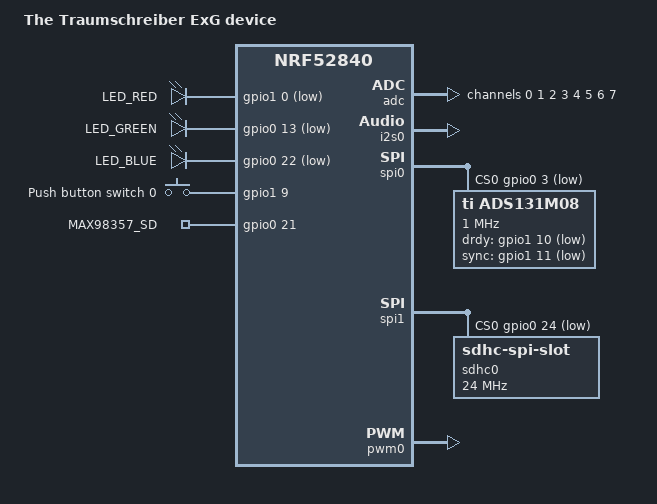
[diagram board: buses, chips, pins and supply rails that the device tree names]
/dts-v1/;
#include <nordic/nrf52840_qiaa.dtsi>
#include <nordic/nrf52840_partition.dtsi>
#include <zephyr/dt-bindings/adc/nrf-saadc.h>
#include "Traumschreiber2603-pinctrl.dtsi"

/ {
	model = "The Traumschreiber ExG device";
	compatible = "ISDT,Traumschreiber2603";

	chosen {
		zephyr,sram = &sram0;
		zephyr,flash = &flash0;
		zephyr,code-partition = &slot0_partition;
	};


	leds {
		compatible = "gpio-leds";
		led_red: led_0 {
			gpios = <&gpio1 0 GPIO_ACTIVE_LOW>;
			label = "LED_RED";
		};
		led_green: led_1 {
			gpios = <&gpio0 13 GPIO_ACTIVE_LOW>;
			label = "LED_GREEN";
		};
		led_blue: led_2 {
			gpios = <&gpio0 22 GPIO_ACTIVE_LOW>;
			label = "LED_BLUE";
		};
	};

	buttons {
		compatible = "gpio-keys";
		button0: button_0 {
			gpios = <&gpio1 9 (GPIO_PULL_UP | GPIO_ACTIVE_HIGH)>;
			label = "Push button switch 0";
		};
	};

	/* MAX98357 Audio Amplifier - falls I2S nicht funktioniert */
	max98357 {
		compatible = "gpio-keys"; // Missbrauche gpio-keys für einfachen GPIO-Zugriff
		max98357_sd: max98357_sd {
			gpios = <&gpio0 21 GPIO_ACTIVE_HIGH>; // Beispiel SD-Pin
			label = "MAX98357_SD";
		};
	};

	/* Diese Alias-Namen können in Anwendungen verwendet werden */
	aliases {
		led0 = &led_red;
		led1 = &led_green;
		led2 = &led_blue;
		sw0 = &button0;
		i2c0 = &i2c0;
		adc0 = &adc;
		i2s0 = &i2s0;
		ads131m08 = &ads131m08;
	};

};



/* GPIO-Controller aktivieren */
&gpio0 {status = "okay"; };
&gpio1 {status = "okay"; };
&gpiote {status = "okay"; };

/* UART als Konsole deaktivieren */
&uart0 {status = "disabled"; };
&gpio0 {status = "okay"; };
&gpio1 {status = "okay"; };
&gpiote {status = "okay"; };

/* UART als Konsole deaktivieren */
&uart0 {status = "disabled"; };

/* ADC aktivieren */
&adc {
	status = "okay";
	#address-cells = <1>;
	#size-cells = <0>;

	channel@0 {
		reg = <0>;
		zephyr,gain = "ADC_GAIN_1_6";
		zephyr,reference = "ADC_REF_INTERNAL";
		zephyr,acquisition-time = <ADC_ACQ_TIME(ADC_ACQ_TIME_MICROSECONDS, 40)>;
		zephyr,input-positive = <NRF_SAADC_AIN0>; /* P0.02 = AIN0 */
		zephyr,resolution = <12>;
	};

	channel@1 {
		reg = <1>;
		zephyr,gain = "ADC_GAIN_1_6";
		zephyr,reference = "ADC_REF_INTERNAL";
		zephyr,acquisition-time = <ADC_ACQ_TIME(ADC_ACQ_TIME_MICROSECONDS, 40)>;
		zephyr,input-positive = <NRF_SAADC_AIN1>; /* P0.03 = AIN1 */
		zephyr,resolution = <12>;
	};

	channel@2 {
		reg = <2>;
		zephyr,gain = "ADC_GAIN_1_6";
		zephyr,reference = "ADC_REF_INTERNAL";
		zephyr,acquisition-time = <ADC_ACQ_TIME(ADC_ACQ_TIME_MICROSECONDS, 40)>;
		zephyr,input-positive = <NRF_SAADC_AIN2>; /* P0.04 = AIN2 */
		zephyr,resolution = <12>;
	};

	channel@3 {
		reg = <3>;
		zephyr,gain = "ADC_GAIN_1_6";
		zephyr,reference = "ADC_REF_INTERNAL";
		zephyr,acquisition-time = <ADC_ACQ_TIME(ADC_ACQ_TIME_MICROSECONDS, 40)>;
		zephyr,input-positive = <NRF_SAADC_AIN3>; /* P0.05 = AIN3 */
		zephyr,resolution = <12>;
	};

	channel@4 {
		reg = <4>;
		zephyr,gain = "ADC_GAIN_1_6";
		zephyr,reference = "ADC_REF_INTERNAL";
		zephyr,acquisition-time = <ADC_ACQ_TIME(ADC_ACQ_TIME_MICROSECONDS, 40)>;
		zephyr,input-positive = <NRF_SAADC_AIN4>; /* P0.28 = AIN4 */
		zephyr,resolution = <12>;
	};

	channel@5 {
		reg = <5>;
		zephyr,gain = "ADC_GAIN_1_6";
		zephyr,reference = "ADC_REF_INTERNAL";
		zephyr,acquisition-time = <ADC_ACQ_TIME(ADC_ACQ_TIME_MICROSECONDS, 40)>;
		zephyr,input-positive = <NRF_SAADC_AIN5>; /* P0.29 = AIN5 */
		zephyr,resolution = <12>;
	};

	channel@6 {
		reg = <6>;
		zephyr,gain = "ADC_GAIN_1_6";
		zephyr,reference = "ADC_REF_INTERNAL";
		zephyr,acquisition-time = <ADC_ACQ_TIME(ADC_ACQ_TIME_MICROSECONDS, 40)>;
		zephyr,input-positive = <NRF_SAADC_AIN6>; /* P0.30 = AIN6 - Helligkeitssensor */
		zephyr,resolution = <12>;
	};

	channel@7 {
		reg = <7>;
		zephyr,gain = "ADC_GAIN_1_6";
		zephyr,reference = "ADC_REF_INTERNAL";
		zephyr,acquisition-time = <ADC_ACQ_TIME(ADC_ACQ_TIME_MICROSECONDS, 40)>;
		zephyr,input-positive = <NRF_SAADC_AIN7>; /* P0.31 = AIN7 */
		zephyr,resolution = <12>;
	};
};

/* I2S für MAX98357 Audio-Verstärker aktivieren */
&i2s0 {
	status = "okay";
	pinctrl-0 = <&i2s0_default>;
	pinctrl-names = "default";
};

/* SPI0 für ADS131M08 ADC aktivieren */
&spi0 {
	status = "okay";
	pinctrl-0 = <&spi0_default>;
	pinctrl-1 = <&spi0_sleep>;
	pinctrl-names = "default", "sleep";
	cs-gpios = <&gpio0 3 GPIO_ACTIVE_LOW>;

	ads131m08: ads131m08@0 {
		compatible = "ti,ads131m08";
		#io-channel-cells = <1>;
		drdy-gpios = <&gpio1 10 GPIO_ACTIVE_LOW>;
		sync-gpios = <&gpio1 11 GPIO_ACTIVE_LOW>;
		reg = <0>;
		spi-max-frequency = <1000000>; /* 1MHz max for ADS131M08 */
		label = "ADS131M08";
	};
};


/* SPI1 für microSD-Kartenleser aktivieren */
&spi1 {
	status = "okay";
	cs-gpios = <&gpio0 24 GPIO_ACTIVE_LOW>; /* CS an P0.24 */
	pinctrl-0 = <&spi1_default>;
	pinctrl-1 = <&spi1_sleep>;
	pinctrl-names = "default", "sleep";

	sdhc0: sdhc@0 {
		compatible = "zephyr,sdhc-spi-slot";
		reg = <0>;
		status = "okay";
		mmc {
			compatible = "zephyr,sdmmc-disk";
			disk-name = "SD";
			status = "okay";
		};
		spi-max-frequency = <24000000>;
};};

/* PWM für RGB LED Steuerung aktivieren */
&pwm0 {
	status = "okay";
	pinctrl-0 = <&pwm0_default>;
	pinctrl-1 = <&pwm0_sleep>;
	pinctrl-names = "default", "sleep";
};

